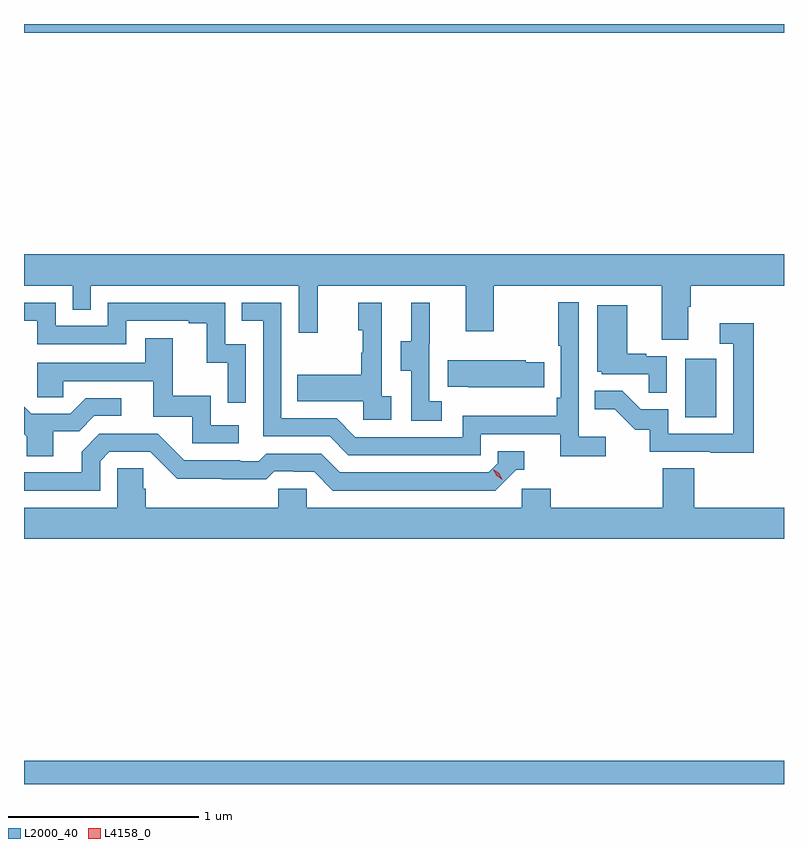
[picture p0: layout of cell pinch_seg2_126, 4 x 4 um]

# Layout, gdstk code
import gdstk
lib = gdstk.Library(unit=1e-6, precision=1e-09)
def R(c, l, rs):  # rectangles x0, y0, x1, y1
    for r in rs: c.add(gdstk.rectangle(r[:2], r[2:], *l))
def P(c, l, *ps):  # polygons
    for p in ps: c.add(gdstk.Polygon(p, *l))
L2000_40 = (2000, 40)
L4158_0 = (4158, 0)

pinch_seg2_126 = lib.new_cell('pinch_seg2_126')
R(pinch_seg2_126, L2000_40, [(1035.896,625.033,1039.896,625.156), (1039.376,626.964,1039.54,627.271), (1035.896,628.988,1039.896,629.033)])
P(pinch_seg2_126, L2000_40, [(1039.393,627.544),(1039.406,627.544),(1039.406,627.656),(1039.896,627.656),(1039.896,627.82),(1035.896,627.82),(1035.896,627.656),(1036.152,627.656),(1036.152,627.529),(1036.248,627.529),(1036.248,627.656),(1037.343,627.656),(1037.343,627.408),(1037.441,627.408),(1037.441,627.656),(1038.221,627.656),(1038.221,627.417),(1038.369,627.417),(1038.369,627.656),(1039.253,627.656),(1039.253,627.37),(1039.393,627.37)],
  [(1038.958,626.86),(1038.816,626.86),(1038.816,627.568),(1038.708,627.568),(1038.708,627.34),(1038.72,627.34),(1038.72,627.067),(1038.7,627.067),(1038.7,626.971),(1038.204,626.971),(1038.204,626.859),(1037.64,626.859),(1037.541,626.958),(1037.25,626.958),(1037.25,627.567),(1037.041,627.567),(1037.041,627.471),(1037.154,627.471),(1037.154,626.862),(1037.504,626.862),(1037.603,626.763),(1038.3,626.763),(1038.3,626.874),(1038.719,626.874),(1038.719,626.758),(1038.958,626.758)],
  [(1037.064,627.348),(1036.956,627.348),(1036.956,627.567),(1036.338,627.567),(1036.338,627.444),(1036.062,627.444),(1036.062,627.567),(1035.896,627.567),(1035.896,627.471),(1035.966,627.471),(1035.966,627.348),(1036.434,627.348),(1036.434,627.471),(1036.763,627.471),(1036.763,627.459),(1036.859,627.459),(1036.859,627.251),(1036.968,627.251),(1036.968,627.039),(1037.064,627.039)],
  [(1037.83,627.074),(1037.778,627.074),(1037.778,627.565),(1037.654,627.565),(1037.654,627.42),(1037.68,627.42),(1037.68,627.302),(1037.67,627.302),(1037.67,627.187),(1037.335,627.187),(1037.335,627.047),(1037.682,627.047),(1037.682,626.949),(1037.83,626.949)],
  [(1038.094,627.047),(1038.03,627.047),(1038.03,627.351),(1038.032,627.351),(1038.032,627.565),(1037.933,627.565),(1037.933,627.363),(1037.879,627.363),(1037.879,627.208),(1037.934,627.208),(1037.934,626.944),(1038.094,626.944)],
  [(1039.278,627.285),(1039.172,627.285),(1039.172,627.298),(1039.072,627.298),(1039.072,627.553),(1038.914,627.553),(1038.914,627.204),(1038.936,627.204),(1038.936,627.189),(1039.183,627.189),(1039.183,627.091),(1039.278,627.091)],
  [(1039.738,627.457),(1039.557,627.457),(1039.557,627.351),(1039.629,627.351),(1039.629,626.877),(1039.287,626.877),(1039.287,627.006),(1039.143,627.006),(1039.045,627.104),(1038.901,627.104),(1038.901,627.005),(1039.005,627.005),(1039.112,626.898),(1039.189,626.898),(1039.189,626.781),(1039.507,626.781),(1039.507,626.776),(1039.738,626.776)],
  [(1037.026,626.922),(1036.878,626.922),(1036.878,627.076),(1036.679,627.076),(1036.679,627.379),(1036.535,627.379),(1036.535,627.249),(1035.966,627.249),(1035.966,627.069),(1036.103,627.069),(1036.103,627.153),(1036.577,627.153),(1036.577,626.967),(1036.782,626.967),(1036.782,626.826),(1037.026,626.826)],
  [(1038.635,627.252),(1038.537,627.252),(1038.537,627.262),(1038.127,627.262),(1038.127,627.125),(1038.235,627.125),(1038.235,627.122),(1038.635,627.122)],
  [(1036.051,626.89),(1036.186,626.89),(1036.266,626.97),(1036.408,626.97),(1036.408,627.063),(1036.22,627.063),(1036.139,626.982),(1035.933,626.982),(1035.896,627.019),(1035.896,626.875),(1035.911,626.86),(1035.911,626.758),(1036.051,626.758)],
  [(1036.296,626.733),(1036.344,626.781),(1036.56,626.781),(1036.702,626.639),(1036.938,626.639),(1036.938,626.637),(1037.171,626.637),(1037.213,626.679),(1037.316,626.679),(1037.316,626.676),(1037.423,626.676),(1037.522,626.577),(1038.375,626.577),(1038.486,626.688),(1038.529,626.688),(1038.529,626.784),(1038.39,626.784),(1038.39,626.721),(1038.342,626.673),(1037.559,626.673),(1037.46,626.772),(1037.171,626.772),(1037.132,626.733),(1037.033,626.733),(1037.033,626.736),(1036.74,626.736),(1036.599,626.877),(1036.293,626.877),(1036.199,626.783),(1036.199,626.673),(1035.896,626.673),(1035.896,626.577),(1036.296,626.577)],
  [(1039.896,626.488),(1039.424,626.488),(1039.424,626.696),(1039.259,626.696),(1039.259,626.488),(1038.668,626.488),(1038.668,626.586),(1038.516,626.586),(1038.516,626.488),(1037.385,626.488),(1037.385,626.586),(1037.235,626.586),(1037.235,626.488),(1036.538,626.488),(1036.538,626.586),(1036.523,626.586),(1036.523,626.696),(1036.386,626.696),(1036.386,626.488),(1035.896,626.488),(1035.896,626.324),(1039.896,626.324)])
P(pinch_seg2_126, L4158_0, [(1038.413,626.635),(1038.383,626.655),(1038.367,626.688),(1038.367,626.688),(1038.368,626.688),(1038.398,626.668),(1038.413,626.635),(1038.413,626.635)])

lib.write_gds('pinch_seg2_126.gds')
